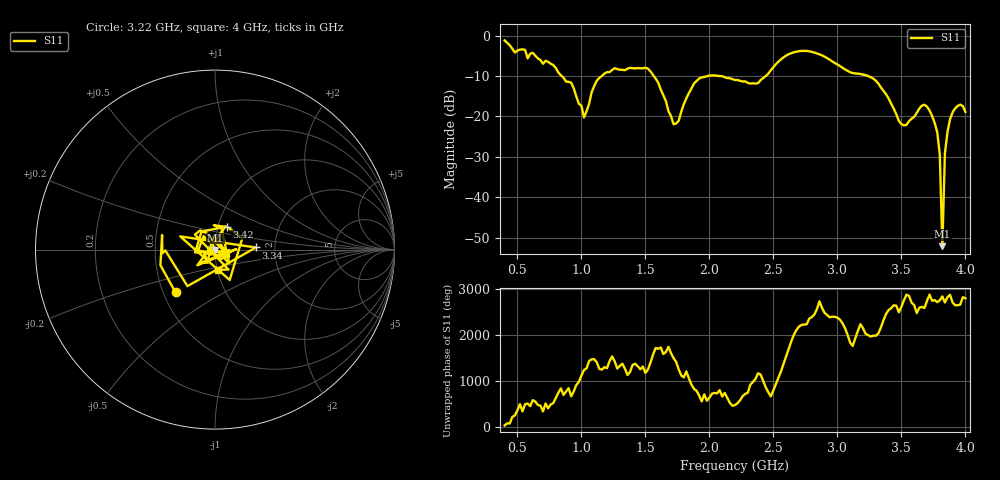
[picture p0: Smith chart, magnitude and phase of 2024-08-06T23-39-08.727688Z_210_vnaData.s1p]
!Created with skrf (http://scikit-rf.org).
# Hz S RI R 50.0
!freq ReS11 ImS11
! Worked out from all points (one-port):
!   181 points, 400 MHz to 4 GHz, reference 50 ohm
!   lowest |S11| = -52.1 dB at 3.82 GHz (marker M1), VSWR 1.00, Z = 50.2 - j0.159 ohm
!   |S11| at or under -10 dB: 1.566 GHz to 1.985 GHz (419 MHz wide, 23.6 % of centre); 2.075 GHz to 2.441 GHz (365.3 MHz wide, 16.2 % of centre); 3.24 GHz to end of sweep (the widest 3 of 4)
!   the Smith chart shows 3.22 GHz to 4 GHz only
!   S11 on the Smith chart (normalised r, x): 3.22 GHz: 0.58, -0.31; 3.34 GHz: 1.59, +0.04; 3.42 GHz: 1.10, +0.29; 4 GHz: 1.01, -0.23
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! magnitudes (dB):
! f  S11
! 400 MHz  -1.2
! 860 MHz  -10.4
! 920 MHz  -11.6
! 1.02 GHz  -20.3
! 1.12 GHz  -11.2
! 1.3 GHz  -8.4
! 1.52 GHz  -8.2
! 1.6 GHz  -11.6
! 1.72 GHz  -22.0
! 1.76 GHz  -21.1
! 1.92 GHz  -10.6
! 2.2 GHz  -11.0
! 2.38 GHz  -11.8
! 2.66 GHz  -4.1
! 3.1 GHz  -9.1
! 3.22 GHz  -9.8
! 3.34 GHz  -12.8
! 3.42 GHz  -16.9
! 3.5 GHz  -21.9
! 3.56 GHz  -21.2
! 3.68 GHz  -17.1
! 3.78 GHz  -23.9
! 3.8 GHz  -29.5
! 3.82 GHz  -52.1
! 3.84 GHz  -29.1
! 3.86 GHz  -23.9
! 3.92 GHz  -18.0
! 4 GHz  -18.9
